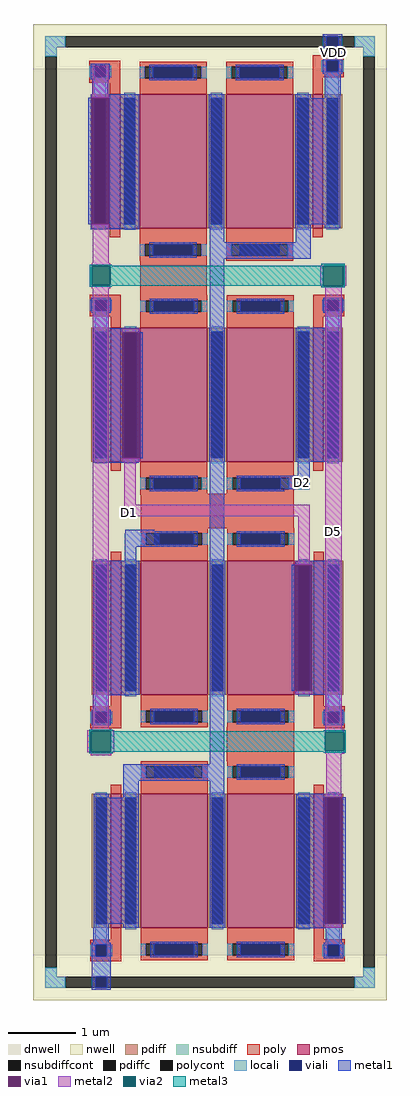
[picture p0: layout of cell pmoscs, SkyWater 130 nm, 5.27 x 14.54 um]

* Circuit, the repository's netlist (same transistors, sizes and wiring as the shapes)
** sch_path: /home/deboradmk/opamp/mag/pmoscs.sch
.subckt pmoscs VDD D5 D1 D2
*.PININFO VDD:B D5:B D2:B D1:B
XM1 D1 D2 VDD VDD sky130_fd_pr__pfet_01v8 L=1 W=2 nf=1 m=2
XM2 D2 D2 VDD VDD sky130_fd_pr__pfet_01v8 L=1 W=2 nf=1 m=2
XM5 D5 D2 VDD VDD sky130_fd_pr__pfet_01v8 L=1 W=2 nf=1 m=2
XM3 VDD VDD VDD VDD sky130_fd_pr__pfet_01v8 L=1 W=2 nf=1 m=2
XM4 VDD VDD VDD VDD sky130_fd_pr__pfet_01v8 L=0.15 W=2 nf=1 m=2
XM6 D2 D2 D2 VDD sky130_fd_pr__pfet_01v8 L=0.15 W=2 nf=1 m=2
XM7 D1 D1 D1 VDD sky130_fd_pr__pfet_01v8 L=0.15 W=2 nf=1 m=2
XM8 D5 D5 D5 VDD sky130_fd_pr__pfet_01v8 L=0.15 W=2 nf=1 m=2
.ends
.end

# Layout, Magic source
magic
tech sky130A
magscale 1 2
<< dnwell >>
rect -186 -1162 868 1480
<< nwell >>
rect -186 -1295 868 1613
<< nsubdiff >>
rect -150 1543 -90 1577
rect 772 1543 832 1577
rect -150 1517 -116 1543
rect 798 1517 832 1543
rect -150 -1225 -116 -1199
rect 798 -1225 832 -1199
rect -150 -1259 -90 -1225
rect 772 -1259 832 -1225
<< nsubdiffcont >>
rect -90 1543 772 1577
rect -150 -1199 -116 1517
rect 798 -1199 832 1517
rect -90 -1259 772 -1225
<< poly >>
rect 647 1505 739 1520
rect -19 1488 73 1503
rect -19 1454 -3 1488
rect 31 1454 73 1488
rect -19 1438 73 1454
rect 43 1404 73 1438
rect 647 1471 689 1505
rect 723 1471 739 1505
rect 647 1455 739 1471
rect 647 1404 677 1455
rect -17 792 75 807
rect 133 804 331 909
rect -17 758 -1 792
rect 33 758 75 792
rect -17 742 75 758
rect 45 708 75 742
rect 649 792 741 807
rect 649 758 691 792
rect 725 758 741 792
rect 649 742 741 758
rect 649 708 679 742
rect 134 111 591 213
rect 46 -420 76 -386
rect -16 -436 76 -420
rect -16 -470 0 -436
rect 34 -470 76 -436
rect -16 -485 76 -470
rect 650 -420 680 -386
rect 650 -436 742 -420
rect 650 -470 692 -436
rect 726 -470 742 -436
rect 391 -584 592 -482
rect 650 -485 742 -470
rect 46 -1115 76 -1084
rect -16 -1131 76 -1115
rect -16 -1165 0 -1131
rect 34 -1165 76 -1131
rect -16 -1180 76 -1165
rect 650 -1114 680 -1080
rect 650 -1130 742 -1114
rect 650 -1164 692 -1130
rect 726 -1164 742 -1130
rect 650 -1179 742 -1164
<< polycont >>
rect -3 1454 31 1488
rect 689 1471 723 1505
rect -1 758 33 792
rect 691 758 725 792
rect 0 -470 34 -436
rect 692 -470 726 -436
rect 0 -1165 34 -1131
rect 692 -1164 726 -1130
<< locali >>
rect -150 1543 -90 1577
rect 772 1543 832 1577
rect -150 1517 -116 1543
rect 798 1517 832 1543
rect -19 1454 -3 1488
rect 31 1454 47 1488
rect 673 1471 689 1505
rect 723 1471 739 1505
rect -4 1403 31 1454
rect -3 1400 31 1403
rect 689 1388 724 1471
rect -17 758 -1 792
rect 33 758 49 792
rect 675 758 691 792
rect 725 758 741 792
rect -2 711 33 758
rect -1 708 33 711
rect 691 711 726 758
rect 691 708 725 711
rect 0 -389 34 -386
rect -1 -436 34 -389
rect 692 -389 726 -386
rect 692 -436 727 -389
rect -16 -470 0 -436
rect 34 -470 50 -436
rect 676 -470 692 -436
rect 726 -470 742 -436
rect 0 -1084 34 -1068
rect -1 -1131 34 -1084
rect 692 -1083 726 -1080
rect 692 -1130 727 -1083
rect -16 -1165 0 -1131
rect 34 -1165 50 -1131
rect 676 -1164 692 -1130
rect 726 -1164 742 -1130
rect -150 -1225 -116 -1199
rect 798 -1225 832 -1199
rect -150 -1259 -90 -1225
rect 772 -1259 832 -1225
<< viali >>
rect 689 1543 723 1577
rect -3 1454 31 1488
rect 689 1471 723 1505
rect -1 758 33 792
rect 691 758 725 792
rect 0 -470 34 -436
rect 692 -470 726 -436
rect 0 -1165 34 -1131
rect 692 -1164 726 -1130
rect 0 -1259 34 -1225
<< metal1 >>
rect 677 1577 735 1583
rect 677 1543 689 1577
rect 723 1543 735 1577
rect 678 1505 735 1543
rect -15 1488 43 1494
rect -15 1454 -3 1488
rect 31 1454 43 1488
rect 677 1471 689 1505
rect 723 1471 735 1505
rect 677 1465 735 1471
rect -15 1448 43 1454
rect -10 1403 37 1448
rect -14 1393 130 1403
rect -22 1016 -12 1393
rect 40 1016 130 1393
rect -14 1002 130 1016
rect 340 962 383 1404
rect 683 1400 730 1465
rect 684 1392 726 1400
rect 601 1380 726 1392
rect 601 1016 723 1380
rect 596 962 641 1010
rect 340 914 641 962
rect -13 792 45 798
rect -13 758 -1 792
rect 33 758 45 792
rect -13 752 45 758
rect -8 708 39 752
rect -6 706 41 708
rect -6 700 129 706
rect -7 695 129 700
rect -7 319 79 695
rect 131 319 141 695
rect -7 306 129 319
rect 88 101 175 106
rect 88 95 190 101
rect 87 55 190 95
rect 87 14 122 55
rect -6 -386 130 14
rect -7 -387 99 -386
rect -7 -430 40 -387
rect -12 -436 46 -430
rect -12 -470 0 -436
rect 34 -470 46 -436
rect -12 -476 46 -470
rect 340 -593 383 914
rect 679 792 737 798
rect 679 758 691 792
rect 725 758 737 792
rect 679 752 737 758
rect 685 708 732 752
rect 596 308 732 708
rect 603 267 638 308
rect 556 227 638 267
rect 597 2 733 14
rect 584 -374 594 2
rect 646 -374 733 2
rect 597 -386 733 -374
rect 686 -430 733 -386
rect 680 -436 738 -430
rect 680 -470 692 -436
rect 726 -470 738 -436
rect 680 -476 738 -470
rect 82 -598 383 -593
rect 82 -642 384 -598
rect 82 -683 128 -642
rect 0 -1068 122 -692
rect 340 -1080 383 -642
rect 598 -691 734 -681
rect 598 -1068 683 -691
rect 735 -1068 745 -691
rect 598 -1080 734 -1068
rect -7 -1125 40 -1080
rect 598 -1081 733 -1080
rect 686 -1124 733 -1081
rect -12 -1131 46 -1125
rect -12 -1165 0 -1131
rect 34 -1165 46 -1131
rect -12 -1225 46 -1165
rect 680 -1130 738 -1124
rect 680 -1164 692 -1130
rect 726 -1164 738 -1130
rect 680 -1170 738 -1164
rect -12 -1259 0 -1225
rect 34 -1259 46 -1225
rect -12 -1265 46 -1259
<< via1 >>
rect -12 1016 40 1393
rect 79 319 131 695
rect 594 -374 646 2
rect 683 -1068 735 -691
<< metal2 >>
rect -8 1403 40 1489
rect -12 1393 40 1403
rect -12 1006 40 1016
rect -8 900 40 1006
rect -12 891 44 900
rect 685 893 733 894
rect -12 826 44 835
rect 669 833 678 893
rect 738 833 747 893
rect -8 -487 40 826
rect 79 695 131 705
rect 79 309 131 319
rect 85 180 120 309
rect 85 153 638 180
rect 86 146 638 153
rect 604 12 638 146
rect 594 2 646 12
rect 594 -384 646 -374
rect -15 -492 47 -487
rect 685 -488 733 833
rect -25 -495 55 -492
rect -25 -555 -14 -495
rect 46 -555 55 -495
rect -25 -557 55 -555
rect 685 -497 741 -488
rect -15 -566 47 -557
rect 685 -562 741 -553
rect 687 -681 732 -562
rect 683 -691 735 -681
rect 683 -1078 735 -1068
rect 687 -1080 732 -1078
<< via2 >>
rect -12 835 44 891
rect 678 833 738 893
rect -14 -555 46 -495
rect 685 -553 741 -497
<< metal3 >>
rect -17 893 49 896
rect 673 893 743 898
rect -17 891 678 893
rect -17 835 -12 891
rect 44 835 678 891
rect -17 833 678 835
rect 738 833 743 893
rect -17 830 49 833
rect 673 828 743 833
rect -19 -495 51 -490
rect 680 -495 746 -492
rect -19 -555 -14 -495
rect 46 -497 746 -495
rect 46 -553 685 -497
rect 741 -553 746 -497
rect 46 -555 746 -553
rect -19 -560 51 -555
rect 680 -558 746 -555
use sky130_fd_pr__pfet_01v8_2ZH9AN  sky130_fd_pr__pfet_01v8_2ZH9AN_0
transform 1 0 665 0 1 -880
box -109 -262 109 262
use sky130_fd_pr__pfet_01v8_2ZH9AN  sky130_fd_pr__pfet_01v8_2ZH9AN_1
transform 1 0 60 0 1 508
box -109 -262 109 262
use sky130_fd_pr__pfet_01v8_2ZH9AN  sky130_fd_pr__pfet_01v8_2ZH9AN_2
transform 1 0 61 0 1 -880
box -109 -262 109 262
use sky130_fd_pr__pfet_01v8_2ZH9AN  sky130_fd_pr__pfet_01v8_2ZH9AN_3
transform 1 0 61 0 1 -186
box -109 -262 109 262
use sky130_fd_pr__pfet_01v8_2ZH9AN  sky130_fd_pr__pfet_01v8_2ZH9AN_4
transform 1 0 665 0 1 -186
box -109 -262 109 262
use sky130_fd_pr__pfet_01v8_2ZH9AN  sky130_fd_pr__pfet_01v8_2ZH9AN_5
transform 1 0 664 0 1 508
box -109 -262 109 262
use sky130_fd_pr__pfet_01v8_2ZH9AN  sky130_fd_pr__pfet_01v8_2ZH9AN_6
transform 1 0 662 0 1 1204
box -109 -262 109 262
use sky130_fd_pr__pfet_01v8_2ZH9AN  sky130_fd_pr__pfet_01v8_2ZH9AN_7
transform 1 0 58 0 1 1204
box -109 -262 109 262
use sky130_fd_pr__pfet_01v8_SDE6B7  sky130_fd_pr__pfet_01v8_SDE6B7_0
transform 1 0 360 0 1 1204
box -323 -300 323 300
use sky130_fd_pr__pfet_01v8_SDE6B7  sky130_fd_pr__pfet_01v8_SDE6B7_1
transform 1 0 362 0 1 508
box -323 -300 323 300
use sky130_fd_pr__pfet_01v8_SDE6B7  sky130_fd_pr__pfet_01v8_SDE6B7_2
transform 1 0 363 0 1 -186
box -323 -300 323 300
use sky130_fd_pr__pfet_01v8_SDE6B7  sky130_fd_pr__pfet_01v8_SDE6B7_3
transform 1 0 363 0 1 -880
box -323 -300 323 300
<< labels >>
flabel metal1 616 248 616 248 0 FreeSans 480 0 0 0 D2
port 8 nsew
flabel metal2 101 159 101 159 0 FreeSans 480 0 0 0 D1
port 10 nsew
flabel metal2 708 102 708 102 0 FreeSans 480 0 0 0 D5
port 12 nsew
flabel metal1 709 1528 709 1528 0 FreeSans 480 0 0 0 VDD
port 14 nsew
<< end >>

# cell sky130_fd_pr__pfet_01v8_2ZH9AN: kit device sky130_fd_pr__pfet_01v8, w 2 l 0.15 m 1 nf 1 diffcov 100 polycov 100 guard 0 glc 1 grc 1 gtc 1 gbc 1 tbcov 100 rlcov 100 topc 0 botc 0 poverlap 0 doverlap 1 lmin 0.15 wmin 0.42 compatible {sky130_fd_pr__pfet_01v8 sky130_fd_pr__pfet_01v8_lvt sky130_fd_pr__pfet_01v8_hvt sky130_fd_pr__pfet_g5v0d10v5} full_metal 1 viasrc 100 viadrn 100 viagate 100 viagb 0 viagr 0 viagl 0 viagt 0

# cell sky130_fd_pr__pfet_01v8_SDE6B7: kit device sky130_fd_pr__pfet_01v8, w 2 l 1 m 1 nf 2 diffcov 100 polycov 100 guard 0 glc 1 grc 1 gtc 1 gbc 1 tbcov 100 rlcov 100 topc 1 botc 1 poverlap 0 doverlap 1 lmin 0.15 wmin 0.42 compatible {sky130_fd_pr__pfet_01v8 sky130_fd_pr__pfet_01v8_lvt sky130_fd_pr__pfet_01v8_hvt sky130_fd_pr__pfet_g5v0d10v5} full_metal 1 viasrc 100 viadrn 100 viagate 70 viagb 0 viagr 0 viagl 0 viagt 0
